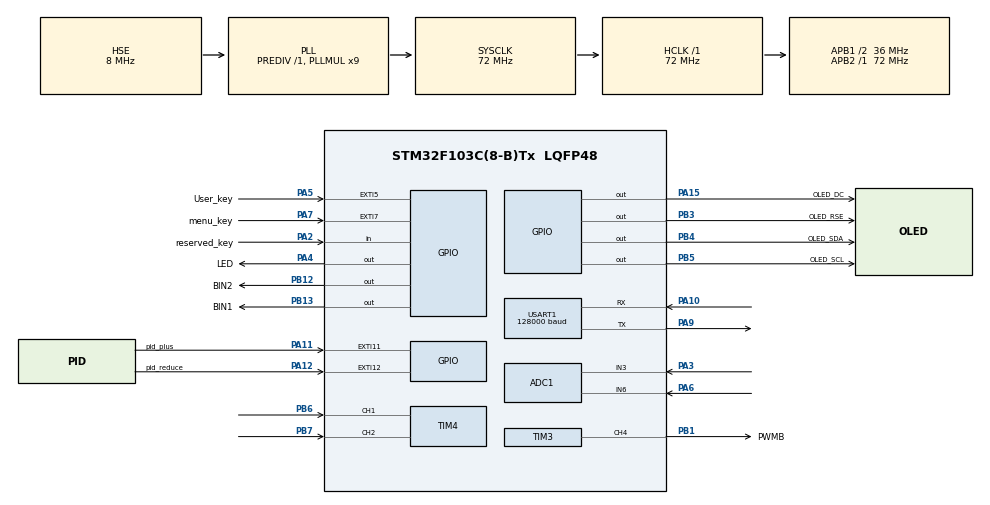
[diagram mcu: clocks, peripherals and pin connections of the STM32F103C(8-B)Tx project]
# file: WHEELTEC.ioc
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ADC1.Channel-2\#ChannelRegularConversion=ADC_CHANNEL_3
ADC1.ContinuousConvMode=DISABLE
ADC1.EnableRegularConversion=ENABLE
ADC1.NbrOfConversion=1
ADC1.NbrOfConversionFlag=1
ADC1.Rank-2\#ChannelRegularConversion=1
ADC1.SamplingTime-2\#ChannelRegularConversion=ADC_SAMPLETIME_1CYCLE_5
ADC1.master=1
Mcu.Family=STM32F1
Mcu.Name=STM32F103C(8-B)Tx
Mcu.Package=LQFP48
NVIC.EXTI15_10_IRQn=true\:2\:2\:true\:false\:true\:true\:true\:true
NVIC.EXTI9_5_IRQn=true\:2\:2\:true\:false\:true\:true\:true\:true
NVIC.PriorityGroup=NVIC_PRIORITYGROUP_2
NVIC.TIM1_UP_IRQn=true\:1\:3\:true\:false\:true\:true\:true\:true
NVIC.USART1_IRQn=true\:0\:0\:false\:false\:true\:true\:true\:true
PA10.Mode=Asynchronous
PA10.Signal=USART1_RX
PA11.GPIO_Label=pid_plus
PA11.GPIO_ModeDefaultEXTI=GPIO_MODE_IT_FALLING
PA11.GPIO_PuPd=GPIO_PULLUP
PA11.Signal=GPXTI11
PA12.GPIO_Label=pid_reduce
PA12.GPIO_ModeDefaultEXTI=GPIO_MODE_IT_FALLING
PA12.GPIO_PuPd=GPIO_PULLUP
PA12.Signal=GPXTI12
PA13.Mode=Serial_Wire
PA13.Signal=SYS_JTMS-SWDIO
PA14.Mode=Serial_Wire
PA14.Signal=SYS_JTCK-SWCLK
PA15.GPIO_Label=OLED_DC
PA15.GPIO_Speed=GPIO_SPEED_FREQ_HIGH
PA15.Signal=GPIO_Output
PA2.GPIO_Label=reserved_key
PA2.GPIO_Mode=GPIO_MODE_INPUT
PA2.GPIO_PuPd=GPIO_PULLUP
PA2.Signal=GPIO_Input
PA3.Signal=ADCx_IN3
PA4.GPIO_Label=LED
PA4.GPIO_ModeDefaultOutputPP=GPIO_MODE_OUTPUT_PP
PA4.GPIO_PuPd=GPIO_PULLUP
PA4.GPIO_Speed=GPIO_SPEED_FREQ_HIGH
PA4.PinState=GPIO_PIN_SET
PA4.Signal=GPIO_Output
PA5.GPIO_Label=User_key
PA5.GPIO_ModeDefaultEXTI=GPIO_MODE_IT_FALLING
PA5.GPIO_PuPd=GPIO_PULLUP
PA5.Signal=GPXTI5
PA6.Signal=ADCx_IN6
PA7.GPIO_Label=menu_key
PA7.GPIO_ModeDefaultEXTI=GPIO_MODE_IT_FALLING
PA7.GPIO_PuPd=GPIO_PULLUP
PA7.Signal=GPXTI7
PA9.Mode=Asynchronous
PA9.Signal=USART1_TX
PB1.GPIO_Label=PWMB
PB1.GPIO_Speed=GPIO_SPEED_FREQ_HIGH
PB1.Signal=S_TIM3_CH4
PB12.GPIO_Label=BIN2
PB12.GPIO_Speed=GPIO_SPEED_FREQ_HIGH
PB12.Signal=GPIO_Output
PB13.GPIO_Label=BIN1
PB13.GPIO_Speed=GPIO_SPEED_FREQ_HIGH
PB13.Signal=GPIO_Output
PB3.GPIO_Label=OLED_RSE
PB3.GPIO_Speed=GPIO_SPEED_FREQ_HIGH
PB3.Signal=GPIO_Output
PB4.GPIO_Label=OLED_SDA
PB4.GPIO_Speed=GPIO_SPEED_FREQ_HIGH
PB4.Signal=GPIO_Output
PB5.GPIO_Label=OLED_SCL
PB5.Signal=GPIO_Output
PB6.Signal=S_TIM4_CH1
PB7.Signal=S_TIM4_CH2
PD0-OSC_IN.Mode=HSE-External-Oscillator
PD0-OSC_IN.Signal=RCC_OSC_IN
PD1-OSC_OUT.Mode=HSE-External-Oscillator
PD1-OSC_OUT.Signal=RCC_OSC_OUT
ProjectManager.HeapSize=0x200
ProjectManager.StackSize=0x400
ProjectManager.TargetToolchain=MDK-ARM V5.32
RCC.ADCPresc=RCC_ADCPCLK2_DIV6
RCC.AHBFreq_Value=72000000
RCC.APB1CLKDivider=RCC_HCLK_DIV2
RCC.APB1Freq_Value=36000000
RCC.APB1TimFreq_Value=72000000
RCC.APB2Freq_Value=72000000
RCC.APB2TimFreq_Value=72000000
RCC.HCLKFreq_Value=72000000
RCC.PLLMUL=RCC_PLL_MUL9
RCC.PLLSourceVirtual=RCC_PLLSOURCE_HSE
RCC.SYSCLKFreq_VALUE=72000000
RCC.SYSCLKSource=RCC_SYSCLKSOURCE_PLLCLK
RCC.TimSys_Div=SYSTICK_CLKSOURCE_HCLK_DIV8
RCC.USBFreq_Value=72000000
SH.ADCx_IN3.0=ADC1_IN3,IN3
SH.ADCx_IN6.0=ADC1_IN6,IN6
SH.S_TIM3_CH4.0=TIM3_CH4,PWM Generation4 CH4
SH.S_TIM4_CH1.0=TIM4_CH1,Encoder_Interface
SH.S_TIM4_CH2.0=TIM4_CH2,Encoder_Interface
TIM1.Period=49
TIM1.Prescaler=7199
TIM3.Channel-PWM\ Generation4\ CH4=TIM_CHANNEL_4
TIM3.Period=7199
TIM4.EncoderMode=TIM_ENCODERMODE_TI12
TIM4.IC1Filter=10
TIM4.IC2Filter=10
USART1.BaudRate=128000
USART1.VirtualMode=VM_ASYNC
VP_TIM1_VS_ClockSourceINT.Mode=Internal
VP_TIM3_VS_ClockSourceINT.Mode=Internal
board=custom

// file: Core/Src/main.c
/* USER CODE BEGIN Header */
/**
  ******************************************************************************
  * @file           : main.c
  * @brief          : Main program body
  ******************************************************************************
  * @attention
  *
  * <h2><center>&copy; Copyright (c) 2021 STMicroelectronics.
  * All rights reserved.</center></h2>
  *
  * This software component is licensed by ST under BSD 3-Clause license,
  * the "License"; You may not use this file except in compliance with the
  * License. You may obtain a copy of the License at:
  *                        opensource.org/licenses/BSD-3-Clause
  *
  ******************************************************************************
  */
/* USER CODE END Header */
#include "main.h"
#include "adc.h"
#include "tim.h"
#include "usart.h"
#include "gpio.h"

/* USER CODE BEGIN Includes */
#include <stdio.h>
#include <string.h>
#include "control.h"
/* USER CODE END Includes */

/* USER CODE BEGIN PV */
u8 Flag_Stop=1;                             //电机停止标志位
volatile u8 delay_50,delay_flag;            // 50ms精准演示标志位
u8 system_start=0;                          //检测调节函数标志位
u8 tips_flag = 0;                           //OLED提示函数标志位
int Encoder,Position_Zero=10000;            //编码器的脉冲计数
int Moto;                                   //电机PWM变量 应是Motor的 向Moto致敬
int Voltage;                                //电池电压采样相关的变量
float Angle_Balance;                        //角位移传感器数据
float Balance_KP=400,Balance_KD=400,Position_KP=20,Position_KD=300;  //PID系数
float Menu=1,Amplitude1=5,Amplitude2=20,Amplitude3=1,Amplitude4=10; //PID调试相关参数
extern float D_Angle_Balance; //摆杆角度变化率

//-----------------------------------------------------------------
char tx_buf[128];
uint8_t rx_buf[8];
int cnt =0;
volatile extern float x, x_speed, angle, angle_speed, u;
volatile u8 uart_flag = 0;

volatile extern ExpSample200 samples[4];

extern volatile ExpSample200 ready_data[5];
extern volatile uint8_t sample_ready;

static ExpSample200 send_data[5];

/* USER CODE END PV */

void SystemClock_Config(void);
/* USER CODE BEGIN PFP */
void JTAG_Set(u8 mode);
void usart1_send_string(char *str);
/* USER CODE END PFP */

int main(void)
{

  /* MCU Configuration--------------------------------------------------------*/

  /* Reset of all peripherals, Initializes the Flash interface and the Systick. */
  HAL_Init();

  /* Configure the system clock */
  SystemClock_Config();

  /* USER CODE BEGIN SysInit */
    JTAG_Set(JTAG_SWD_DISABLE);                     //关闭JTAG接口，才能开启OLED显示
	JTAG_Set(SWD_ENABLE);                           //开启SWD调试接口
	HAL_Delay(1000);                 //=====延时启动，等待系统稳定
	HAL_Delay(1000);                 //=====延时启动，等待系统稳定 共2s
  /* USER CODE END SysInit */

  /* Initialize all configured peripherals */
  MX_GPIO_Init();
  MX_TIM3_Init();
  MX_TIM4_Init();
  MX_USART1_UART_Init();
  MX_ADC1_Init();
  MX_TIM1_Init();
  /* USER CODE BEGIN 2 */
  OLED_Init();

  sprintf(tx_buf, "666"); // x v theta omiga
  usart1_send_string(tx_buf);
  HAL_UART_Receive_IT(&huart1, (uint8_t*)rx_buf, 8);

  /* USER CODE END 2 */

  /* Infinite loop */
  while (1)
  {

    /* USER CODE BEGIN 3 */

	  // 需要20ms的稳定的传输

	  if (!sample_ready) {
		continue;
		}

		// 只在复制数据时短暂关闭中断
		uint32_t irq_state = __get_PRIMASK();
		__disable_irq();

		for (int i = 0; i < 5; i++) {
			send_data[i] = ready_data[i];
		}
		sample_ready = 0;

		__set_PRIMASK(irq_state);

	  if(uart_flag == 1){
		 sprintf(tx_buf, "<back>:%.3f\n",u); // 这边只有u出来，然后就是可能是tx_buf不够长，问题不大，不知道上位机那边有没有影响
		 usart1_send_string(tx_buf);
		 uart_flag = 0;
	  }
	  if(uart_flag == 2){
		usart1_send_string("RX ERROR\r\n");
		uart_flag = 0;
	  }
		for (int i = 0; i < 5; i++) {
			int tag = (i == 0) ? 50 : i - 1;

			int n = snprintf(
				tx_buf, sizeof(tx_buf),
				"<%d>:%d,%.6f,%.6f,%.6f,%.6f\n",
				tag, cnt,
				send_data[i].x,
				send_data[i].x_speed,
				send_data[i].angle,
				send_data[i].angle_speed
			);

			if (n > 0 && n < (int)sizeof(tx_buf)) {
				usart1_send_string(tx_buf);
			}
		}
	  	cnt ++;

//DataScope();	            //===上位机
//		Tips();                   //===OLED显示与提示
//		delay_flag=1;	            //===50ms中断精准延时标志位
//		while(delay_flag);        //===50ms中断精准延时  主要是波形显示上位机需要严格的50ms传输周期

//   电机测试代码
//	  Set_Pwm(3600);
//	  HAL_Delay(1000);
//	  Set_Pwm(-3600);
//	  HAL_Delay(1000);

//	  Set_Pwm(7200);
//	  HAL_Delay(500);
//	  Set_Pwm(-7200);
//	  HAL_Delay(500);

  }
  /* USER CODE END 3 */
}

void SystemClock_Config(void)
{
  RCC_OscInitTypeDef RCC_OscInitStruct = {0};
  RCC_ClkInitTypeDef RCC_ClkInitStruct = {0};
  RCC_PeriphCLKInitTypeDef PeriphClkInit = {0};

  /** Initializes the RCC Oscillators according to the specified parameters
  * in the RCC_OscInitTypeDef structure.
  */
  RCC_OscInitStruct.OscillatorType = RCC_OSCILLATORTYPE_HSE;
  RCC_OscInitStruct.HSEState = RCC_HSE_ON;
  RCC_OscInitStruct.HSEPredivValue = RCC_HSE_PREDIV_DIV1;
  RCC_OscInitStruct.HSIState = RCC_HSI_ON;
  RCC_OscInitStruct.PLL.PLLState = RCC_PLL_ON;
  RCC_OscInitStruct.PLL.PLLSource = RCC_PLLSOURCE_HSE;
  RCC_OscInitStruct.PLL.PLLMUL = RCC_PLL_MUL9;
  if (HAL_RCC_OscConfig(&RCC_OscInitStruct) != HAL_OK)
  {
    Error_Handler();
  }
  /** Initializes the CPU, AHB and APB buses clocks
  */
  RCC_ClkInitStruct.ClockType = RCC_CLOCKTYPE_HCLK|RCC_CLOCKTYPE_SYSCLK
                              |RCC_CLOCKTYPE_PCLK1|RCC_CLOCKTYPE_PCLK2;
  RCC_ClkInitStruct.SYSCLKSource = RCC_SYSCLKSOURCE_PLLCLK;
  RCC_ClkInitStruct.AHBCLKDivider = RCC_SYSCLK_DIV1;
  RCC_ClkInitStruct.APB1CLKDivider = RCC_HCLK_DIV2;
  RCC_ClkInitStruct.APB2CLKDivider = RCC_HCLK_DIV1;

  if (HAL_RCC_ClockConfig(&RCC_ClkInitStruct, FLASH_LATENCY_2) != HAL_OK)
  {
    Error_Handler();
  }
  PeriphClkInit.PeriphClockSelection = RCC_PERIPHCLK_ADC;
  PeriphClkInit.AdcClockSelection = RCC_ADCPCLK2_DIV6;
  if (HAL_RCCEx_PeriphCLKConfig(&PeriphClkInit) != HAL_OK)
  {
    Error_Handler();
  }
}

/* USER CODE BEGIN 4 */
/**************************************************************************
Function: Set JTAG mode
Input   : mode:JTAG, swd mode settings；00，all enable；01，enable SWD；10，Full shutdown
Output  : none
函数功能：设置JTAG模式
入口参数：mode:jtag,swd模式设置;00,全使能;01,使能SWD;10,全关闭;
返回  值：无
**************************************************************************/
//#define JTAG_SWD_DISABLE   0X02
//#define SWD_ENABLE         0X01
//#define JTAG_SWD_ENABLE    0X00
void JTAG_Set(u8 mode)
{
	u32 temp;
	temp=mode;
	temp<<=25;
	RCC->APB2ENR|=1<<0;     //Turn on the auxiliary clock //开启辅助时钟
	AFIO->MAPR&=0XF8FFFFFF; //Clear MAPR [26:24] //清除MAPR的[26:24]
	AFIO->MAPR|=temp;       //Set the JTAG mode //设置jtag模式
}

void usart1_send_string(char *str)
{
    HAL_UART_Transmit(&huart1, (uint8_t *)str, strlen(str), 1000);
}

void HAL_UART_RxCpltCallback(UART_HandleTypeDef *huart)
{
    if (huart->Instance == USART1)
    {

			 uint8_t sum  =  0;

			for (int i = 0; i < 6; i++){
				 sum = (uint8_t)(sum + rx_buf[i]);
			 }
			//HAL_UART_Transmit(&huart1, rx_buf, 8, 1000);
			if (rx_buf[0] == 0xAA &&rx_buf[1] == 0x55 &&rx_buf[6] == sum  &&rx_buf[7] == 0x0D)
			{
            // 将 4 个二进制字节还原成 float
				memcpy(&u, &rx_buf[2], sizeof(u));

			//设置PWM
				Moto = (int)(7200*(u/12.0f)); //===计算电机最终PWM
				Xianfu_Pwm();   //===PWM限幅 防止占空比100%带来的系统不稳定因素
				Set_Pwm(Moto);  //===赋值给PWM寄存器
				uart_flag = 1;
			}
			else
			{
				uart_flag =  2;
			}
			 HAL_UART_Receive_IT(&huart1, (uint8_t*)rx_buf, 8);

//    HAL_UART_Receive_IT(&huart1, (uint8_t*)rx_buf, 8);
    }
}

/* USER CODE END 4 */

void Error_Handler(void)
{
  __disable_irq();
  while (1)
  {
  }
}

/************************ (C) COPYRIGHT STMicroelectronics *****END OF FILE****/
